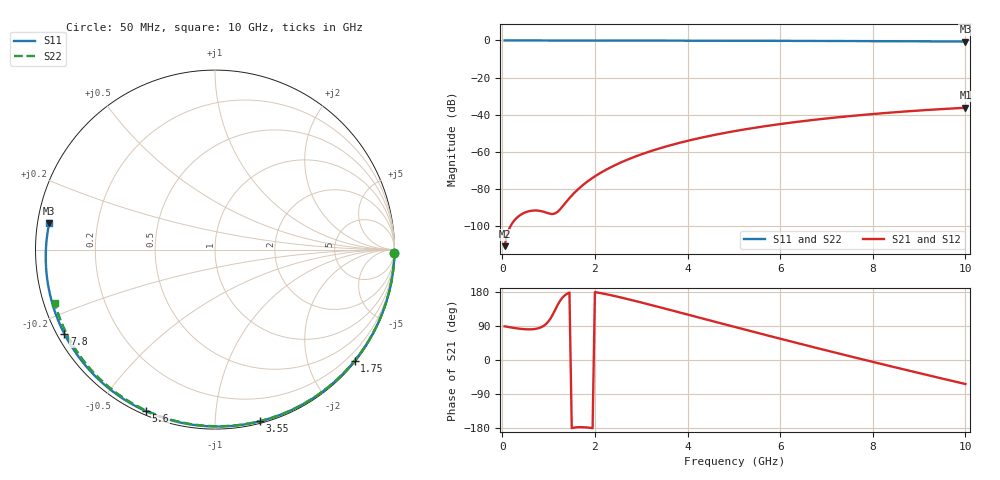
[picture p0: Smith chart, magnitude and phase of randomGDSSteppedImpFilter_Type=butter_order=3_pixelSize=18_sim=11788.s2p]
! freq	dB(S11)	phase(S11)	dB(S12)	phase(S12)
!  dB(S21)	phase(S21)	dB(S22)	phase(S22)
!S-par simulation data
#  GHz  S  DB  R 50
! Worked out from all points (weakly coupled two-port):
!   200 points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, 50 MHz to 10 GHz, reference 50 ohm
!   highest |S21| = -36.19 dB at 10 GHz (marker M1); lowest = -110.6 dB at 50 MHz (marker M2)
!   lowest |S11| = -0.6 dB at 10 GHz (marker M3), VSWR 30.00, Z = 1.68 + j3.91 ohm
!   |S11| at or under -10 dB: nowhere
!   |S22| runs from -0.5 to 0.0 dB; largest |S21 - S12| = 0
!   S11 on the Smith chart (normalised r, x): 50 MHz: open; 1.75 GHz: 0.03, -2.87; 3.55 GHz: 0.02, -1.30; 5.6 GHz: 0.02, -0.66; 7.8 GHz: 0.02, -0.26; 10 GHz: 0.03, +0.08
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0.05  -0.00 -1.1  -110.60 88.9  -110.60 88.9  -0.00 -1.0
0.4  -0.01 -9.0  -93.67 82.2  -93.67 82.2  -0.01 -7.6
0.8  -0.02 -17.8  -91.58 84.5  -91.58 84.5  -0.02 -15.1
1.2  -0.03 -26.6  -92.01 146.3  -92.01 146.3  -0.03 -22.5
1.6  -0.04 -35.3  -80.84 -177.6  -80.84 -177.6  -0.04 -29.9
1.65  -0.05 -36.3  -79.68 -177.2  -79.68 -177.2  -0.04 -30.8
1.75  -0.05 -38.5  -77.55 -177.3  -77.55 -177.3  -0.04 -32.6
2.05  -0.06 -44.8  -72.25 178.2  -72.25 178.2  -0.05 -38.1
2.45  -0.07 -53.2  -66.86 168.2  -66.86 168.2  -0.06 -45.2
2.9  -0.08 -62.4  -62.16 154.9  -62.16 154.9  -0.07 -53.1
3.4  -0.09 -72.4  -57.99 139.2  -57.99 139.2  -0.08 -61.7
3.55  -0.10 -75.3  -56.90 134.4  -56.90 134.4  -0.09 -64.3
4.3  -0.13 -89.6  -52.25 110.3  -52.25 110.3  -0.11 -76.7
5.05  -0.16 -103.4  -48.60 86.3  -48.60 86.3  -0.14 -88.8
5.6  -0.18 -113.2  -46.37 68.8  -46.37 68.8  -0.16 -97.3
6.15  -0.22 -122.7  -44.45 51.5  -44.45 51.5  -0.19 -105.7
6.7  -0.25 -132.2  -42.77 34.4  -42.77 34.4  -0.22 -113.9
7.25  -0.29 -141.5  -41.29 17.6  -41.29 17.6  -0.26 -121.9
7.8  -0.34 -150.8  -39.99 1.0  -39.99 1.0  -0.30 -129.9
8.35  -0.39 -160.1  -38.84 -15.4  -38.84 -15.4  -0.35 -137.8
9.2  -0.48 -174.7  -37.33 -40.3  -37.33 -40.3  -0.44 -150.0
10  -0.58 171.0  -36.19 -63.4  -36.19 -63.4  -0.54 -161.7
